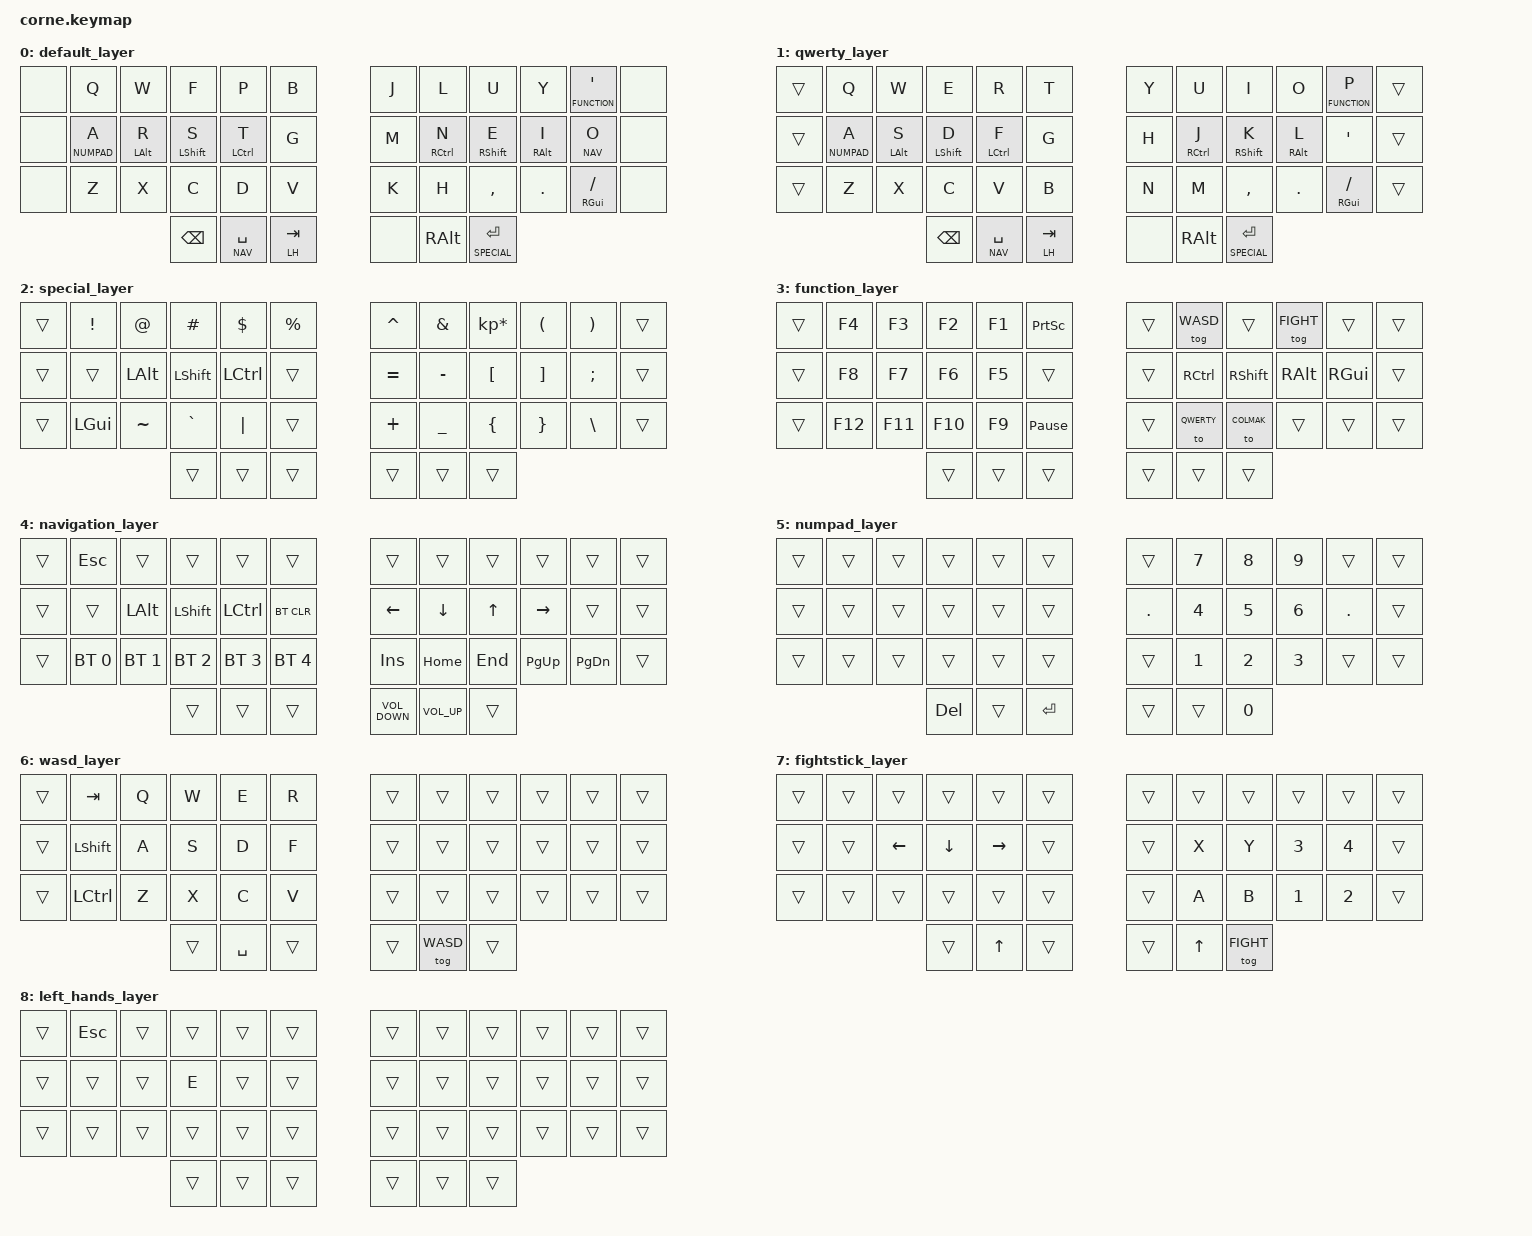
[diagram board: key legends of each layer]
/*
 * Copyright (c) 2020 The ZMK Contributors
 *
 * SPDX-License-Identifier: MIT
 */

#include <behaviors.dtsi>
#include <dt-bindings/zmk/keys.h>
#include <dt-bindings/zmk/bt.h>

#define COLMAK 0
#define QWERTY 1
#define SPECIAL 2
#define FUNCTION 3
#define NAV 4
#define NUMPAD 5
#define WASD 6
#define FIGHT 7
#define LH 8

&caps_word {
        continue-list = <UNDERSCORE MINUS>;
};

/ {
        behaviors {
                combos {
                        compatible = "zmk,combos";
                        combo_caps_word {
                                timeout-ms = <50>;
                                key-positions = <15 20>;
                                bindings = <&caps_word>;
                        };
                };
                lh_ctrl: left_hand_control {
                        compatible = "zmk,behavior-hold-tap";
                        label = "POSITIONAL_HOLD_TAP_LEFT_CONTROL";
                        #binding-cells = <2>;
                        flavor = "balanced";
                        tapping-term-ms = <250>;
                        quick-tap-ms = <300>;
                        bindings = <&kp>, <&kp>;
                        #hold-trigger-key-positions = <1 2 3 12 13 14 15 19 25 26>;
                };
                rh_ctrl: right_hand_control {
                        compatible = "zmk,behavior-hold-tap";
                        label = "POSITIONAL_HOLD_TAP_RIGHT_CONTROL";
                        #binding-cells = <2>;
                        flavor = "balanced";
                        tapping-term-ms = <250>;
                        quick-tap-ms = <300>;
                        bindings = <&kp>, <&kp>;
                        #hold-trigger-key-positions = <3 4 13 14 16 17 25 26 27 29>;
                };
                lh_alt: left_hand_alt {
                        compatible = "zmk,behavior-hold-tap";
                        label = "POSITIONAL_HOLD_TAP_LEFT_ALT";
                        #binding-cells = <2>;
                        flavor = "balanced";
                        tapping-term-ms = <250>;
                        quick-tap-ms = <300>;
                        bindings = <&kp>, <&kp>;
                        #hold-trigger-key-positions = <12 28>;
                };
                rh_alt: right_hand_alt {
                        compatible = "zmk,behavior-hold-tap";
                        label = "POSITIONAL_HOLD_TAP_RIGHT_ALT";
                        #binding-cells = <2>;
                        flavor = "balanced";
                        tapping-term-ms = <250>;
                        quick-tap-ms = <300>;
                        bindings = <&kp>, <&kp>;
                        hold-trigger-key-positions = <12 28>;
                };
                lh_shft: left_hand_shift {
                        compatible = "zmk,behavior-hold-tap";
                        label = "POSITIONAL_HOLD_TAP_LEFT_SHIFT";
                        #binding-cells = <2>;
                        flavor = "balanced";
                        tapping-term-ms = <175>;
                        quick-tap-ms = <300>;
                        bindings = <&kp>, <&kp>;
                };
                rh_shft: right_hand_shift {
                        compatible = "zmk,behavior-hold-tap";
                        label = "POSITIONAL_HOLD_TAP_RIGHT_SHIFT";
                        #binding-cells = <2>;
                        flavor = "balanced";
                        tapping-term-ms = <175>;
                        quick-tap-ms = <300>;
                        bindings = <&kp>, <&kp>;
                };
                lh_num: left_hand_numpad {
                        compatible = "zmk,behavior-hold-tap";
                        label = "POSITIONAL_HOLD_TAP_LEFT_GUI";
                        #binding-cells = <2>;
                        flavor = "balanced";
                        tapping-term-ms = <200>;
                        quick-tap-ms = <300>;
                        bindings = <&kp>, <&kp>;
                };
                rh_gui: right_hand_gui {
                        compatible = "zmk,behavior-hold-tap";
                        label = "POSITIONAL_HOLD_TAP_RIGHT_GUI";
                        #binding-cells = <2>;
                        flavor = "balanced";
                        tapping-term-ms = <250>;
                        quick-tap-ms = <300>;
                        bindings = <&kp>, <&kp>;
                        #hold-trigger-key-positions = <7 12 14>;
                };
                spc_nav: space_navigation {
                        compatible = "zmk,behavior-hold-tap";
                        label = "POSITIONAL_HOLD_TAP_SPACE_NAV";
                        #binding-cells = <2>;
                        flavor = "balanced";
                        tapping-term-ms = <200>;
                        quick-tap-ms = <100>;
                        bindings = <&kp>, <&kp>;
                };
                spc_ret: special_return {
                        compatible = "zmk,behavior-hold-tap";
                        label = "POSITIONAL_HOLD_TAP_SPECIAL_RET";
                        #binding-cells = <2>;
                        flavor = "balanced";
                        tapping-term-ms = <175>;
                        quick-tap-ms = <100>;
                        bindings = <&kp>, <&kp>;
                };

        };
        keymap {
                compatible = "zmk,keymap";

                default_layer {
//       |---------------------------------------------------------------------------------------------------------//-------------------------------------------------------------------------------------------| //
//       |        Q           |       W            |       F             |     P             |      B         |    //    |   J     |    L             |   U               |    Y          |         '"          | //
//       |        A-NUM       |       R-alt        |       S-shift       |     T-ctrl        |      G         |    //    |   M     |    N-ctrl        |   E-shift         |    I-alt      |         O           | //
//       |        Z           |       X            |       C             |     D             |      V         |    //    |   K     |    H             |   ,<              |    .>         |         /?gui       | //
//       |                                         \       BACKSPACE     |     SPC (nav)     |      TAB       |    //    |         |                  |   ENT (special)   /                                     | //
//       |=========================================================================================================//===========================================================================================| //
                        bindings = <
&none          &kp Q               &kp W               &kp F                &kp P               &kp B                      &kp J     &kp L              &kp U               &kp Y            &lt FUNCTION SQT   &none
&none          &lt NUMPAD A        &lh_alt LALT R      &lh_shft LSHFT S     &lh_ctrl LCTRL T    &kp G                      &kp M     &rh_ctrl RCTRL N   &rh_shft RSHFT E    &rh_alt RALT I   &lt NAV O              &none
&none          &kp Z               &kp X               &kp C                &kp D               &kp V                      &kp K     &kp H              &kp COMMA           &kp DOT          &rh_gui RGUI FSLH  &none
                                                       &kp BKSP             &lt NAV SPACE       &lt LH TAB                 &none     &kp RALT           &lt SPECIAL RET
                        >;
                };

                qwerty_layer {
//       |---------------------------------------------------------------------------------------------------------//-------------------------------------------------------------------------------------------| //
//       |        Q           |       W            |       E             |     R             |      T         |    //    |   Y     |    U             |   I               |    O          |         P           | //
//       |        A-NUM       |       S-alt        |       D-shift       |     F-ctrl        |      G         |    //    |   H     |    J-ctrl        |   K-shift         |    L-alt      |         ;:          | //
//       |        Z           |       X            |       C             |     V             |      B         |    //    |   N     |    M             |   ,<              |    .>         |         /?gui       | //
//       |                                         \       BACKSPACE     |     SPC (nav)     |      TAB       |    //    |         |                  |   ENT (special)   /                                     | //
//       |=========================================================================================================//===========================================================================================| //
                        bindings = <
&trans         &kp Q               &kp W               &kp E                &kp R               &kp T                      &kp Y     &kp U              &kp I               &kp O            &lt FUNCTION P       &trans
&trans         &lt NUMPAD A        &lh_alt LALT S      &lh_shft LSHFT D     &lh_ctrl LCTRL F    &kp G                      &kp H     &rh_ctrl RCTRL J   &rh_shft RSHFT K    &rh_alt RALT L   &kp SQT              &trans
&trans         &kp Z               &kp X               &kp C                &kp V               &kp B                      &kp N     &kp M              &kp COMMA           &kp DOT          &rh_gui RGUI FSLH    &trans
                                                       &kp BKSP             &lt NAV SPACE       &lt LH TAB                 &none     &kp RALT           &lt SPECIAL RET
                        >;
                };

                special_layer {
//       |-------------------------------------------------------------//--------------------------------------------------------------------| //
//       |     !    |    @      |    #     |    $     |   %       |    //    |     ^     |     &     |        *        |     (    |     )    | //
//       |          |    alt    |    shft  |    ctrl  |           |    //    |     =     |     -     |        [        |     ]    |     ;    | //
//       |    gui   |    ~      |    `     |    |     |           |    //    |     +     |     _     |        {        |     }    |     \    | //
//       |                      \          |          |           |    //    |           |           |                 /                     | //
//       |=============================================================//====================================================================| //
                        bindings = <
&trans     &kp EXCL   &kp AT     &kp HASH    &kp DLLR   &kp PRCNT              &kp CARET   &kp AMPS    &kp KP_MULTIPLY   &kp LPAR   &kp RPAR  &trans
&trans     &trans     &kp LALT   &kp LSHFT   &kp LCTL   &trans                 &kp EQUAL   &kp MINUS   &kp LBKT          &kp RBKT   &kp SEMI  &trans
&trans     &kp LGUI   &kp TILDE  &kp GRAVE   &kp PIPE   &trans                 &kp PLUS    &kp UNDER   &kp LBRC          &kp RBRC   &kp BSLH  &trans
                                 &trans      &trans     &trans                 &trans      &trans      &trans
                        >;
                };

                function_layer {
//       |----------------------------------------------------------//------------------------------------------------------------| //
//       |   F4    |   F3   |   F2    |   F1   | Prnt SCR       |   //   |       |    WASD   |            |    FIGHT   |          | //
//       |   F8    |   F7   |   F6    |   F5   |                |   //   |       |    ctrl   |    shft    |    alt     |    gui   | //
//       |   F12   |   F11  |   F10   |   F9   |                |   //   |       |  QWERTY   |  COLMAK    |            |          | //
//       |                  \         |        | Pause Break    |   //   |       |           |            /                       | //
//       |==========================================================//============================================================| //
                        bindings = <
&trans     &kp F4    &kp F3   &kp F2    &kp F1  &kp PSCRN                  &trans  &tog WASD   &trans       &tog FIGHT   &trans    &trans
&trans     &kp F8    &kp F7   &kp F6    &kp F5  &trans                     &trans  &kp RCTRL   &kp RSHFT    &kp RALT     &kp RGUI  &trans
&trans     &kp F12   &kp F11  &kp F10   &kp F9  &kp PAUSE_BREAK            &trans  &to QWERTY  &to COLMAK   &trans       &trans    &trans
                              &trans    &trans  &trans                     &trans  &trans      &trans
                        >;
                };

                navigation_layer {
//       |-------------------------------------------------------------------------------//--------------------------------------------------------------------------| //
//       |     ESC      |              |              |              |               |   //   |                   |                |          |           |          | //
//       |              |      LALT    |     LSHFT    |     LCTRL    |     BTCLR     |   //   |     LFT           |    DWN         |    UP    |   RGT     |          | //
//       |     BT1      |      BT2     |     BT3      |     BT4      |     BT5       |   //   |     PG INS        |    HOME        |    END   |   PG UP   |   PG DN  | //
//       |                             \              |              |               |   //   |     VOLUME DOWN   |    VOLUME UP   |          /                      | //
//       |===============================================================================//==========================================================================| //
                        bindings = <
&trans     &kp ESC        &trans         &trans         &trans          &trans                  &trans              &trans           &trans     &trans      &trans     &trans
&trans     &trans         &kp LALT       &kp LSHFT      &kp LCTRL       &bt BT_CLR              &kp LEFT            &kp DOWN         &kp UP     &kp RIGHT   &trans     &trans
&trans     &bt BT_SEL 0   &bt BT_SEL 1   &bt BT_SEL 2   &bt BT_SEL 3    &bt BT_SEL 4            &kp INS             &kp HOME         &kp END    &kp PG_UP   &kp PG_DN  &trans
                                         &trans         &trans          &trans                  &kp K_VOLUME_DOWN   &kp K_VOLUME_UP  &trans
                        >;
                };

                numpad_layer {
//       |--------------------------------------------------//------------------------------------------------| //
//       |        |        |         |        |         |   //   |        |    7   |    8   |    9   |        | //
//       |        |        |         |        |         |   //   |    .   |    4   |    5   |    6   |    .   | //
//       |        |        |         |        |         |   //   |        |    1   |    2   |    3   |        | //
//       |                 \   DEL   |        |  ENTER  |   //   |        |        |    0   /                 | //
//       |==================================================//================================================| //
                        bindings = <
&trans     &trans   &trans   &trans    &trans   &trans            &trans    &kp N7   &kp N8   &kp N9  &trans   &trans
&trans     &trans   &trans   &trans    &trans   &trans            &kp DOT   &kp N4   &kp N5   &kp N6  &kp DOT  &trans
&trans     &trans   &trans   &trans    &trans   &trans            &trans    &kp N1   &kp N2   &kp N3  &trans   &trans
                             &kp DEL   &trans   &kp RET           &trans    &trans   &kp N0
                        >;
                };

                wasd_layer {
//       |----------------------------------------------------//-------------------------------------------------| //
//       |    TAB    |   Q   |    W   |     E     |   R   |   //   |       |           |       |        |        | //
//       |    LSHT   |   A   |    S   |     D     |   F   |   //   |       |           |       |        |        | //
//       |    LCTL   |   Z   |    X   |     C     |   V   |   //   |       |           |       |        |        | //
//       |                   \        |           |       |   //   |       |    WASD   |       /                 | //
//       |====================================================//=================================================| //
                        bindings = <
&trans     &kp TAB     &kp Q   &kp W    &kp E      &kp R            &trans   &trans     &trans   &trans   &trans  &trans
&trans     &kp LSHIFT  &kp A   &kp S    &kp D      &kp F            &trans   &trans     &trans   &trans   &trans  &trans
&trans     &kp LCTRL   &kp Z   &kp X    &kp C      &kp V            &trans   &trans     &trans   &trans   &trans  &trans
                               &trans   &kp SPACE  &trans           &trans   &tog WASD  &trans
                        >;
                };

                fightstick_layer {
//       |-------------------------------------------------//--------------------------------------------------| //
//       |       |         |         |         |       |   //   |      |         |           |        |        | //
//       |       |   LFT   |   DWN   |   RGT   |       |   //   |      |    X    |     Y     |    3   |    4   | //
//       |       |         |         |         |       |   //   |      |    A    |     B     |    1   |    2   | //
//       |                 \         |   UP    |       |   //   |      |    UP   |   FIGHT   /                 | //
//       |=================================================//==================================================| //
                        bindings = <
&trans    &trans  &trans    &trans    &trans     &trans          &trans   &trans   &trans      &trans   &trans  &trans
&trans    &trans  &kp LEFT  &kp DOWN  &kp RIGHT  &trans          &trans   &kp X    &kp Y       &kp N3   &kp N4  &trans
&trans    &trans  &trans    &trans    &trans     &trans          &trans   &kp A    &kp B       &kp N1   &kp N2  &trans
                            &trans    &kp UP     &trans          &trans   &kp UP   &tog FIGHT
                        >;
                };

                left_hands_layer {
//       |---------------------------------------------------//---------------------------------------------------| //
//       |  ESC  |          |         |         |        |   //   |       |         |       |        |            | //
//       |       |          |    E    |         |        |   //   |       |         |       |        |            | //
//       |       |          |         |         |        |   //   |       |         |       |        |            | //
//       |                  \         |         |        |   //   |       |         |       /                     | //
//       |===================================================//===================================================| //
                        bindings = <
&trans    &kp ESC     &trans    &trans    &trans  &trans            &trans   &trans   &trans  &trans   &trans  &trans
&trans    &trans      &trans    &kp E     &trans  &trans            &trans   &trans   &trans  &trans   &trans  &trans
&trans    &trans      &trans    &trans    &trans  &trans            &trans   &trans   &trans  &trans   &trans  &trans
                                &trans    &trans  &trans            &trans   &trans   &trans
                        >;
                };

        };
};
